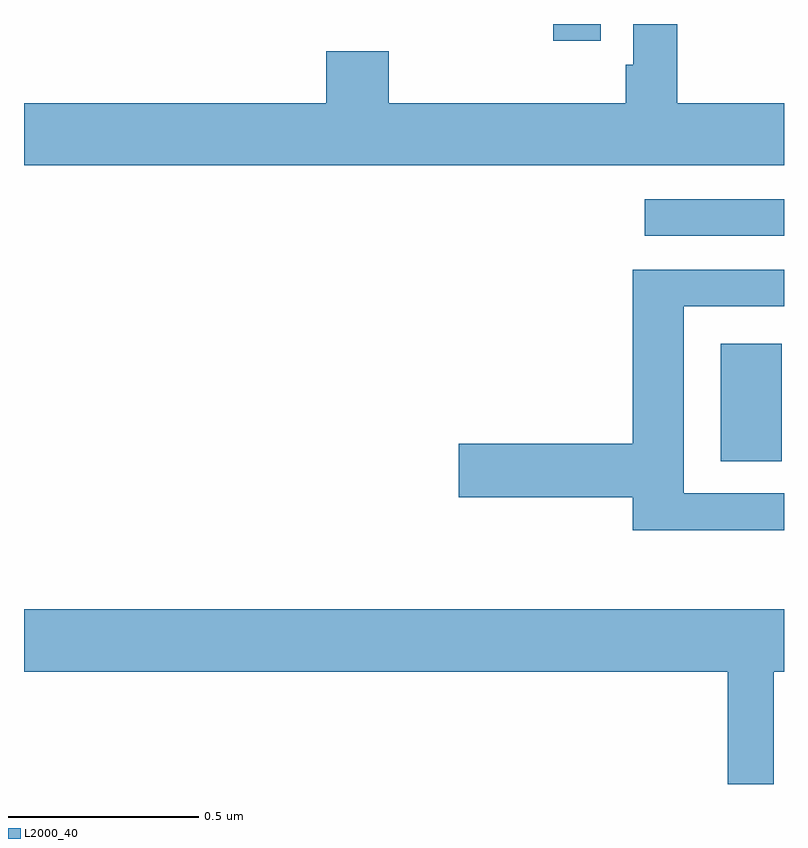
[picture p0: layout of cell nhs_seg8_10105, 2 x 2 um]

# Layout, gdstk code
import gdstk
lib = gdstk.Library(unit=1e-6, precision=1e-09)
def R(c, l, rs):  # rectangles x0, y0, x1, y1
    for r in rs: c.add(gdstk.rectangle(r[:2], r[2:], *l))
def P(c, l, *ps):  # polygons
    for p in ps: c.add(gdstk.Polygon(p, *l))
L2000_40 = (2000, 40)

nhs_seg8_10105 = lib.new_cell('nhs_seg8_10105')
R(nhs_seg8_10105, L2000_40, [(246.833,1087.75,246.994,1088.059), (246.633,1088.343,247,1088.439), (246.393,1088.856,246.518,1088.9)])
P(nhs_seg8_10105, L2000_40, [(245.795,1088.828),(245.795,1088.692),(245,1088.692),(245,1088.528),(247,1088.528),(247,1088.692),(246.719,1088.692),(246.719,1088.9),(246.603,1088.9),(246.603,1088.793),(246.583,1088.793),(246.583,1088.692),(245.96,1088.692),(245.96,1088.828)],
  [(247,1087.665),(246.736,1087.665),(246.736,1088.157),(247,1088.157),(247,1088.253),(246.602,1088.253),(246.602,1087.796),(246.144,1087.796),(246.144,1087.654),(246.602,1087.654),(246.602,1087.568),(247,1087.568)],
  [(246.973,1087.196),(247,1087.196),(247,1087.36),(245,1087.36),(245,1087.196),(246.852,1087.196),(246.852,1086.9),(246.973,1086.9)])

lib.write_gds('nhs_seg8_10105.gds')
